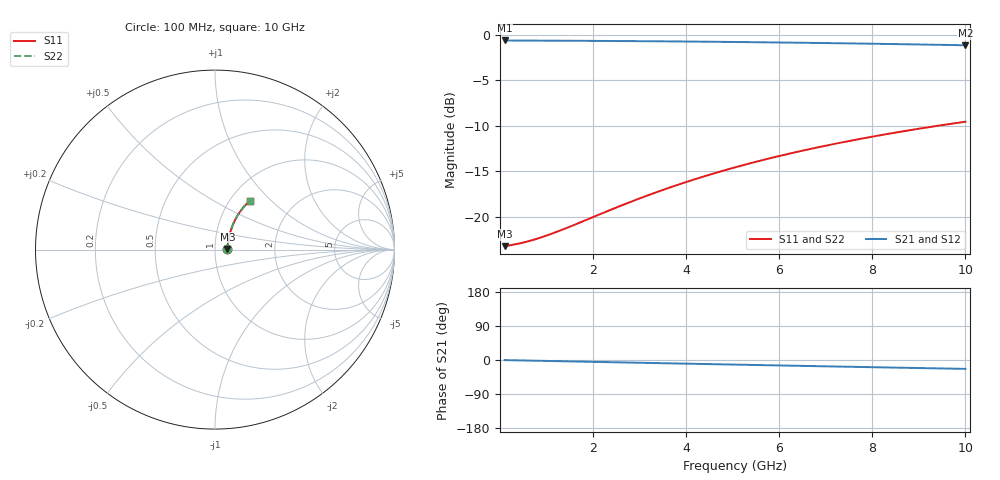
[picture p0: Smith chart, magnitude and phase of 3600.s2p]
# Hz S RI R 50.00
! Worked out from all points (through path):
!   100 points, 100 MHz to 10 GHz, reference 50 ohm
!   highest |S21| = -0.62 dB at 100 MHz (marker M1); lowest = -1.1 dB at 10 GHz (marker M2)
!   group delay of S21, straight-line fit = 6.52 ps
!   lowest |S11| = -23.2 dB at 100 MHz (marker M3), VSWR 1.15, Z = 57.4 + j0.369 ohm
!   |S11| at or under -10 dB: start of sweep to 9.402 GHz
!   |S22| runs from -23.2 to -9.6 dB; largest |S21 - S12| = 0
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1e8  0.0689 0.0032  0.9311 -0.00396  0.9311 -0.00396  0.0689 0.0032
3e8  0.0698 0.00958  0.9302 -0.0119  0.9302 -0.0119  0.0698 0.00958
5e8  0.0704 0.0159  0.9295 -0.0198  0.9295 -0.0198  0.0704 0.0159
8e8  0.0715 0.0255  0.9285 -0.0316  0.9285 -0.0316  0.0715 0.0255
1e9  0.0722 0.0318  0.9278 -0.0394  0.9278 -0.0394  0.0722 0.0318
1.2e9  0.073 0.0381  0.9269 -0.0472  0.9269 -0.0472  0.073 0.0381
1.8e9  0.076 0.0569  0.9239 -0.0706  0.9239 -0.0706  0.076 0.0569
2.7e9  0.082 0.0847  0.9178 -0.1053  0.9178 -0.1053  0.082 0.0847
3.1e9  0.0852 0.0969  0.9145 -0.1205  0.9145 -0.1205  0.0852 0.0969
3.4e9  0.0879 0.1059  0.9117 -0.1318  0.9117 -0.1318  0.0879 0.1059
3.8e9  0.0919 0.1177  0.9077 -0.1467  0.9077 -0.1467  0.0919 0.1177
4.2e9  0.0961 0.1294  0.9033 -0.1615  0.9033 -0.1615  0.0961 0.1294
4.6e9  0.1008 0.1409  0.8985 -0.176  0.8985 -0.176  0.1008 0.1409
5.1e9  0.1071 0.155  0.8921 -0.194  0.8921 -0.194  0.1071 0.155
5.5e9  0.1125 0.166  0.8865 -0.208  0.8865 -0.208  0.1125 0.166
5.9e9  0.1183 0.1768  0.8806 -0.2219  0.8806 -0.2219  0.1183 0.1768
6.3e9  0.1243 0.1874  0.8744 -0.2355  0.8744 -0.2355  0.1243 0.1874
6.7e9  0.1307 0.1976  0.8679 -0.2488  0.8679 -0.2488  0.1307 0.1976
7.5e9  0.1443 0.2174  0.854 -0.2747  0.854 -0.2747  0.1443 0.2174
8.4e9  0.1608 0.2382  0.837 -0.3025  0.837 -0.3025  0.1608 0.2382
9.2e9  0.1765 0.2555  0.8209 -0.3259  0.8209 -0.3259  0.1765 0.2555
1e10  0.1929 0.2715  0.804 -0.3481  0.804 -0.3481  0.1929 0.2715
